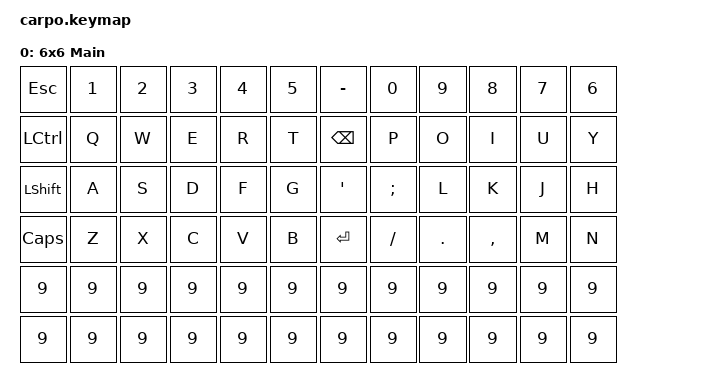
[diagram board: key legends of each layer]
/*
*
* Copyright (c) 2024 The ZMK Contributors
* SPDX-License-Identifier: MIT
*
*/

#include <behaviors.dtsi>
#include <dt-bindings/zmk/keys.h>
#include <dt-bindings/zmk/bt.h>



/ {
    keymap {
        compatible = "zmk,keymap";

        default_layer {
            display-name = "6x6 Main";
// ------------------------------------------------------------------------------------------
// |  Q  |  W  |  E  |  R  |  T  | [ |   | ] |  Y  |  U  |  I  |  O  |  P  | - |
// |  A  |  S  |  D  |  F  |  G  | ' |   | \ |  H  |  J  |  K  |  L  |  ;  | = |
// |  Z  |  X  |  C  |  V  |  B  | / |   | . |  N  |  M  |  ,  |  .  |  /  | ' |
//                                  | GUI | LWR | SPC | ENT |   | ENT | RSE | ALT |
            bindings = <
/* --- Row 1 --- */
&kp ESC   &kp N1  &kp N2  &kp N3  &kp N4  &kp N5  &kp MINUS     &kp N0   &kp N9  &kp N8    &kp N7 &kp N6         
/* --- Row 2 --- */
&kp LCTRL &kp Q   &kp W   &kp E   &kp R   &kp T   &kp BACKSPACE &kp P    &kp O   &kp I     &kp U  &kp Y           
/* --- Row 3 --- */
&kp LSHFT &kp A   &kp S   &kp D   &kp F   &kp G   &kp SQT       &kp SEMI &kp L   &kp K     &kp J  &kp H         
/* --- Row 4 --- */
&kp CAPS  &kp Z   &kp X   &kp C   &kp V   &kp B   &kp ENTER     &kp FSLH &kp DOT &kp COMMA &kp M  &kp N              
/* --- Row 5 (Thumb Cluster) --- */
&kp N9    &kp N9  &kp N9  &kp N9  &kp N9  &kp N9  &kp N9        &kp N9   &kp N9  &kp N9    &kp N9 &kp N9
/* --- Row 6 (Deep Thumb) --- */
&kp N9    &kp N9  &kp N9  &kp N9  &kp N9  &kp N9  &kp N9        &kp N9   &kp N9  &kp N9    &kp N9 &kp N9
            >;
        };
    };
};


